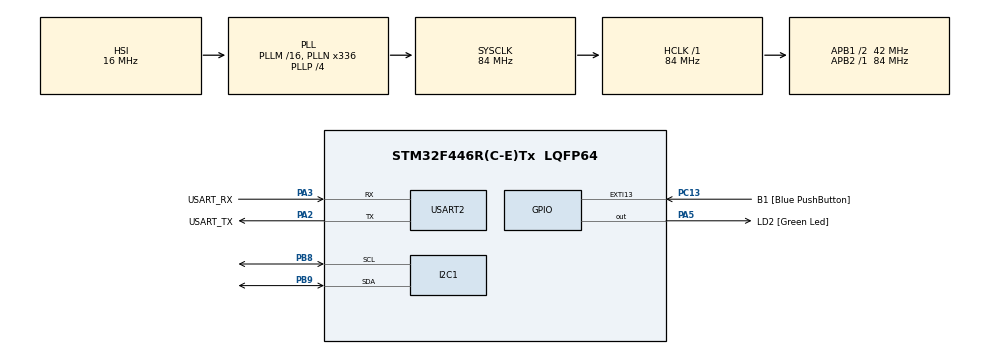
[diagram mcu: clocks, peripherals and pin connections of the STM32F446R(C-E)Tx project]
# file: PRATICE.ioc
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Mcu.Family=STM32F4
Mcu.Name=STM32F446R(C-E)Tx
Mcu.Package=LQFP64
NVIC.PriorityGroup=NVIC_PRIORITYGROUP_0
PA13.GPIO_Label=TMS
PA13.Mode=Serial_Wire
PA13.Signal=SYS_JTMS-SWDIO
PA14.GPIO_Label=TCK
PA14.Mode=Serial_Wire
PA14.Signal=SYS_JTCK-SWCLK
PA2.GPIO_Label=USART_TX
PA2.Mode=Asynchronous
PA2.Signal=USART2_TX
PA3.GPIO_Label=USART_RX
PA3.Mode=Asynchronous
PA3.Signal=USART2_RX
PA5.GPIO_Label=LD2 [Green Led]
PA5.Signal=GPIO_Output
PB3.GPIO_Label=SWO
PB3.Signal=SYS_JTDO-SWO
PB8.Mode=I2C
PB8.Signal=I2C1_SCL
PB9.Mode=I2C
PB9.Signal=I2C1_SDA
PC13.GPIO_Label=B1 [Blue PushButton]
PC13.GPIO_ModeDefaultEXTI=GPIO_MODE_IT_FALLING
PC13.Signal=GPXTI13
PC14-OSC32_IN.Mode=LSE-External-Oscillator
PC14-OSC32_IN.Signal=RCC_OSC32_IN
PC15-OSC32_OUT.Mode=LSE-External-Oscillator
PC15-OSC32_OUT.Signal=RCC_OSC32_OUT
PH0-OSC_IN.Mode=HSE-External-Oscillator
PH0-OSC_IN.Signal=RCC_OSC_IN
PH1-OSC_OUT.Mode=HSE-External-Oscillator
PH1-OSC_OUT.Signal=RCC_OSC_OUT
ProjectManager.HeapSize=0x200
ProjectManager.StackSize=0x400
ProjectManager.TargetToolchain=STM32CubeIDE
RCC.48MHZClocksFreq_Value=84000000
RCC.AHBFreq_Value=84000000
RCC.APB1CLKDivider=RCC_HCLK_DIV2
RCC.APB1Freq_Value=42000000
RCC.APB1TimFreq_Value=84000000
RCC.APB2Freq_Value=84000000
RCC.APB2TimFreq_Value=84000000
RCC.CortexFreq_Value=84000000
RCC.FLatency-AdvancedSettings=FLASH_LATENCY_2
RCC.HCLKFreq_Value=84000000
RCC.HSE_VALUE=8000000
RCC.HSI_VALUE=16000000
RCC.PLLN=336
RCC.PLLP=RCC_PLLP_DIV4
RCC.SYSCLKFreq_VALUE=84000000
RCC.SYSCLKSource=RCC_SYSCLKSOURCE_PLLCLK
RCC.USBFreq_Value=168000000
RCC.VCOOutputFreq_Value=336000000
USART2.VirtualMode=VM_ASYNC
board=NUCLEO-F446RE

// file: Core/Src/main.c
/* USER CODE BEGIN Header */
/**
  ******************************************************************************
  * @file           : main.c
  * @brief          : Main program body
  ******************************************************************************
  * @attention
  *
  * Copyright (c) 2025 STMicroelectronics.
  * All rights reserved.
  *
  * This software is licensed under terms that can be found in the LICENSE file
  * in the root directory of this software component.
  * If no LICENSE file comes with this software, it is provided AS-IS.
  *
  ******************************************************************************
  */
/* USER CODE END Header */
#include "main.h"

/* USER CODE BEGIN Includes */
#include <stdbool.h>
#include <stdio.h>
#include <string.h>
#include <stdlib.h>  // For abs()
/* USER CODE END Includes */

I2C_HandleTypeDef hi2c1;

UART_HandleTypeDef huart2;

/* USER CODE BEGIN PV */
bool sensor_ready = false;
char msg[100];  // Global message buffer
/* USER CODE END PV */

void SystemClock_Config(void);
static void MX_GPIO_Init(void);
static void MX_USART2_UART_Init(void);
static void MX_I2C1_Init(void);

int main(void)
{

  /* MCU Configuration--------------------------------------------------------*/

  /* Reset of all peripherals, Initializes the Flash interface and the Systick. */
  HAL_Init();

  /* Configure the system clock */
  SystemClock_Config();

  /* Initialize all configured peripherals */
  MX_GPIO_Init();
  MX_USART2_UART_Init();
  MX_I2C1_Init();
  /* USER CODE BEGIN 2 */

  // Send startup message
  sprintf(msg, "=== MPU6050 Tilt Sensor ===\r\n");
  HAL_UART_Transmit(&huart2, (uint8_t*)msg, strlen(msg), 1000);

  // Try to initialize MPU6050 sensor
  if (HAL_I2C_IsDeviceReady(&hi2c1, 0xD0, 3, 1000) == HAL_OK) {
      sprintf(msg, "Sensor found at 0x68!\r\n");
      HAL_UART_Transmit(&huart2, (uint8_t*)msg, strlen(msg), 1000);

      // Check WHO_AM_I register
      uint8_t who_am_i;
      HAL_I2C_Mem_Read(&hi2c1, 0xD0, 0x75, 1, &who_am_i, 1, 1000);
      sprintf(msg, "WHO_AM_I: 0x%02X (should be 0x68)\r\n", who_am_i);
      HAL_UART_Transmit(&huart2, (uint8_t*)msg, strlen(msg), 1000);

      // Wake up the sensor
      uint8_t wake_up = 0x00;
      HAL_I2C_Mem_Write(&hi2c1, 0xD0, 0x6B, 1, &wake_up, 1, 1000);
      HAL_Delay(100);

      // Verify it's awake
      uint8_t pwr_mgmt;
      HAL_I2C_Mem_Read(&hi2c1, 0xD0, 0x6B, 1, &pwr_mgmt, 1, 1000);
      sprintf(msg, "PWR_MGMT_1: 0x%02X (should be 0x00)\r\n", pwr_mgmt);
      HAL_UART_Transmit(&huart2, (uint8_t*)msg, strlen(msg), 1000);

      sensor_ready = true;
      sprintf(msg, "Sensor ready! Starting measurements...\r\n\r\n");
      HAL_UART_Transmit(&huart2, (uint8_t*)msg, strlen(msg), 1000);
  }
  else {
      sprintf(msg, "ERROR: Sensor not found!\r\n");
      HAL_UART_Transmit(&huart2, (uint8_t*)msg, strlen(msg), 1000);
      sprintf(msg, "Check your wiring:\r\n");
      HAL_UART_Transmit(&huart2, (uint8_t*)msg, strlen(msg), 1000);
      sprintf(msg, "  VCC -> 3.3V\r\n");
      HAL_UART_Transmit(&huart2, (uint8_t*)msg, strlen(msg), 1000);
      sprintf(msg, "  GND -> GND\r\n");
      HAL_UART_Transmit(&huart2, (uint8_t*)msg, strlen(msg), 1000);
      sprintf(msg, "  SCL -> PB8\r\n");
      HAL_UART_Transmit(&huart2, (uint8_t*)msg, strlen(msg), 1000);
      sprintf(msg, "  SDA -> PB9\r\n");
      HAL_UART_Transmit(&huart2, (uint8_t*)msg, strlen(msg), 1000);
  }

  /* USER CODE END 2 */

  /* Infinite loop */
  /* USER CODE BEGIN WHILE */
  while (1)
  {
      if (sensor_ready) {
          uint8_t data[14];
          HAL_I2C_Mem_Read(&hi2c1, 0xD0, 0x3B, 1, data, 14, 1000);

          // Parse accelerometer
          int16_t accel_x = (data[0] << 8) | data[1];
          int16_t accel_y = (data[2] << 8) | data[3];
          int16_t accel_z = (data[4] << 8) | data[5];

          // Convert to milli-g
          int accel_x_mg = (int)((long)accel_x * 1000 / 16384);
          int accel_y_mg = (int)((long)accel_y * 1000 / 16384);
          int accel_z_mg = (int)((long)accel_z * 1000 / 16384);

          // Calculate angles
          int roll_x100 = 0;
          int pitch_x100 = 0;

          if (accel_z_mg != 0) {
              roll_x100 = (accel_y_mg * 5730) / accel_z_mg;
              pitch_x100 = (-accel_x_mg * 5730) / accel_z_mg;
          }

          // Send simple CSV format
          sprintf(msg, "%d.%02d,%d.%02d\r\n",
                  roll_x100/100, abs(roll_x100%100),
                  pitch_x100/100, abs(pitch_x100%100));
          HAL_UART_Transmit(&huart2, (uint8_t*)msg, strlen(msg), 100);

          HAL_Delay(100);
      }
      else {
          HAL_Delay(1000);
      }

    /* USER CODE END WHILE */

  }
}

void SystemClock_Config(void)
{
  RCC_OscInitTypeDef RCC_OscInitStruct = {0};
  RCC_ClkInitTypeDef RCC_ClkInitStruct = {0};

  /** Configure the main internal regulator output voltage
  */
  __HAL_RCC_PWR_CLK_ENABLE();
  __HAL_PWR_VOLTAGESCALING_CONFIG(PWR_REGULATOR_VOLTAGE_SCALE3);

  /** Initializes the RCC Oscillators according to the specified parameters
  * in the RCC_OscInitTypeDef structure.
  */
  RCC_OscInitStruct.OscillatorType = RCC_OSCILLATORTYPE_HSI;
  RCC_OscInitStruct.HSIState = RCC_HSI_ON;
  RCC_OscInitStruct.HSICalibrationValue = RCC_HSICALIBRATION_DEFAULT;
  RCC_OscInitStruct.PLL.PLLState = RCC_PLL_ON;
  RCC_OscInitStruct.PLL.PLLSource = RCC_PLLSOURCE_HSI;
  RCC_OscInitStruct.PLL.PLLM = 16;
  RCC_OscInitStruct.PLL.PLLN = 336;
  RCC_OscInitStruct.PLL.PLLP = RCC_PLLP_DIV4;
  RCC_OscInitStruct.PLL.PLLQ = 2;
  RCC_OscInitStruct.PLL.PLLR = 2;
  if (HAL_RCC_OscConfig(&RCC_OscInitStruct) != HAL_OK)
  {
    Error_Handler();
  }

  /** Initializes the CPU, AHB and APB buses clocks
  */
  RCC_ClkInitStruct.ClockType = RCC_CLOCKTYPE_HCLK|RCC_CLOCKTYPE_SYSCLK
                              |RCC_CLOCKTYPE_PCLK1|RCC_CLOCKTYPE_PCLK2;
  RCC_ClkInitStruct.SYSCLKSource = RCC_SYSCLKSOURCE_PLLCLK;
  RCC_ClkInitStruct.AHBCLKDivider = RCC_SYSCLK_DIV1;
  RCC_ClkInitStruct.APB1CLKDivider = RCC_HCLK_DIV2;
  RCC_ClkInitStruct.APB2CLKDivider = RCC_HCLK_DIV1;

  if (HAL_RCC_ClockConfig(&RCC_ClkInitStruct, FLASH_LATENCY_2) != HAL_OK)
  {
    Error_Handler();
  }
}

static void MX_I2C1_Init(void)
{

  hi2c1.Instance = I2C1;
  hi2c1.Init.ClockSpeed = 100000;
  hi2c1.Init.DutyCycle = I2C_DUTYCYCLE_2;
  hi2c1.Init.OwnAddress1 = 0;
  hi2c1.Init.AddressingMode = I2C_ADDRESSINGMODE_7BIT;
  hi2c1.Init.DualAddressMode = I2C_DUALADDRESS_DISABLE;
  hi2c1.Init.OwnAddress2 = 0;
  hi2c1.Init.GeneralCallMode = I2C_GENERALCALL_DISABLE;
  hi2c1.Init.NoStretchMode = I2C_NOSTRETCH_DISABLE;
  if (HAL_I2C_Init(&hi2c1) != HAL_OK)
  {
    Error_Handler();
  }

}

static void MX_USART2_UART_Init(void)
{

  huart2.Instance = USART2;
  huart2.Init.BaudRate = 115200;
  huart2.Init.WordLength = UART_WORDLENGTH_8B;
  huart2.Init.StopBits = UART_STOPBITS_1;
  huart2.Init.Parity = UART_PARITY_NONE;
  huart2.Init.Mode = UART_MODE_TX_RX;
  huart2.Init.HwFlowCtl = UART_HWCONTROL_NONE;
  huart2.Init.OverSampling = UART_OVERSAMPLING_16;
  if (HAL_UART_Init(&huart2) != HAL_OK)
  {
    Error_Handler();
  }

}

static void MX_GPIO_Init(void)
{
  GPIO_InitTypeDef GPIO_InitStruct = {0};

  /* GPIO Ports Clock Enable */
  __HAL_RCC_GPIOC_CLK_ENABLE();
  __HAL_RCC_GPIOH_CLK_ENABLE();
  __HAL_RCC_GPIOA_CLK_ENABLE();
  __HAL_RCC_GPIOB_CLK_ENABLE();

  /*Configure GPIO pin Output Level */
  HAL_GPIO_WritePin(LD2_GPIO_Port, LD2_Pin, GPIO_PIN_RESET);

  /*Configure GPIO pin : B1_Pin */
  GPIO_InitStruct.Pin = B1_Pin;
  GPIO_InitStruct.Mode = GPIO_MODE_IT_FALLING;
  GPIO_InitStruct.Pull = GPIO_NOPULL;
  HAL_GPIO_Init(B1_GPIO_Port, &GPIO_InitStruct);

  /*Configure GPIO pin : LD2_Pin */
  GPIO_InitStruct.Pin = LD2_Pin;
  GPIO_InitStruct.Mode = GPIO_MODE_OUTPUT_PP;
  GPIO_InitStruct.Pull = GPIO_NOPULL;
  GPIO_InitStruct.Speed = GPIO_SPEED_FREQ_LOW;
  HAL_GPIO_Init(LD2_GPIO_Port, &GPIO_InitStruct);

}

void Error_Handler(void)
{
  __disable_irq();
  while (1)
  {
  }
}
